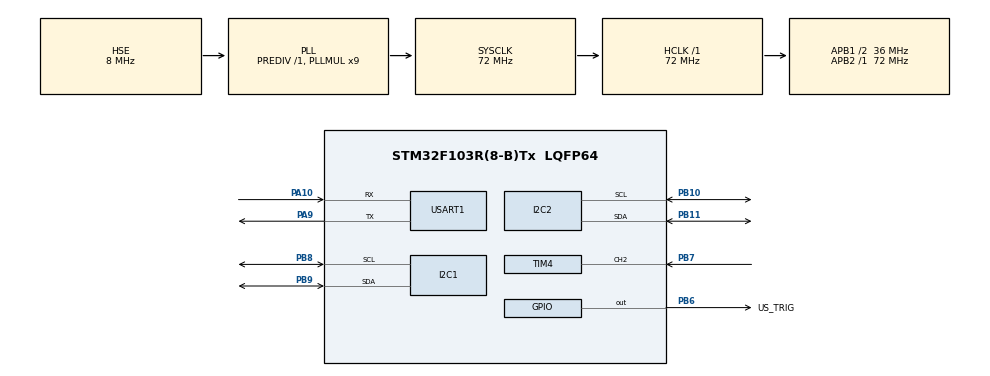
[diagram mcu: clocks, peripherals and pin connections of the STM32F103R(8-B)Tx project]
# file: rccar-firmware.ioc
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Dma.Request0=USART1_RX
Dma.Request1=USART1_TX
Dma.USART1_RX.0.Direction=DMA_PERIPH_TO_MEMORY
Dma.USART1_RX.0.Instance=DMA1_Channel5
Dma.USART1_RX.0.MemDataAlignment=DMA_MDATAALIGN_BYTE
Dma.USART1_RX.0.MemInc=DMA_MINC_ENABLE
Dma.USART1_RX.0.Mode=DMA_NORMAL
Dma.USART1_RX.0.PeriphDataAlignment=DMA_PDATAALIGN_BYTE
Dma.USART1_RX.0.PeriphInc=DMA_PINC_DISABLE
Dma.USART1_RX.0.Priority=DMA_PRIORITY_HIGH
Dma.USART1_TX.1.Direction=DMA_MEMORY_TO_PERIPH
Dma.USART1_TX.1.Instance=DMA1_Channel4
Dma.USART1_TX.1.MemDataAlignment=DMA_MDATAALIGN_BYTE
Dma.USART1_TX.1.MemInc=DMA_MINC_ENABLE
Dma.USART1_TX.1.Mode=DMA_NORMAL
Dma.USART1_TX.1.PeriphDataAlignment=DMA_PDATAALIGN_BYTE
Dma.USART1_TX.1.PeriphInc=DMA_PINC_DISABLE
Dma.USART1_TX.1.Priority=DMA_PRIORITY_LOW
FREERTOS.Mutexes01=stateMutex,Dynamic,NULL,Available
FREERTOS.Queues01=cmdQueue,10,uint16_t,0,Dynamic,NULL,NULL
FREERTOS.Tasks01=defaultTask,8,128,StartDefaultTask,Default,NULL,Dynamic,NULL,NULL;ControlTask,48,512,StartControlTask,Default,NULL,Dynamic,NULL,NULL;TelemetryTask,24,256,StartTelemetryTask,Default,NULL,Dynamic,NULL,NULL;CommRxTask,40,256,StartCommRxTask,Default,NULL,Dynamic,NULL,NULL
FREERTOS.configTOTAL_HEAP_SIZE=10240
I2C1.I2C_Mode=I2C_Fast
Mcu.Family=STM32F1
Mcu.Name=STM32F103R(8-B)Tx
Mcu.Package=LQFP64
NVIC.DMA1_Channel4_IRQn=true\:5\:0\:false\:false\:true\:true\:false\:true\:true
NVIC.DMA1_Channel5_IRQn=true\:5\:0\:false\:false\:true\:true\:false\:true\:true
NVIC.PriorityGroup=NVIC_PRIORITYGROUP_4
NVIC.TIM1_UP_IRQn=true\:15\:0\:false\:false\:true\:false\:false\:true\:true
NVIC.TIM4_IRQn=true\:5\:0\:false\:false\:true\:true\:true\:true\:true
NVIC.TimeBase=TIM1_UP_IRQn
NVIC.TimeBaseIP=TIM1
NVIC.USART1_IRQn=true\:5\:0\:false\:false\:true\:true\:true\:true\:true
PA10.Mode=Asynchronous
PA10.Signal=USART1_RX
PA13.Mode=Serial_Wire
PA13.Signal=SYS_JTMS-SWDIO
PA14.Mode=Serial_Wire
PA14.Signal=SYS_JTCK-SWCLK
PA9.Mode=Asynchronous
PA9.Signal=USART1_TX
PB10.Mode=I2C
PB10.Signal=I2C2_SCL
PB11.Mode=I2C
PB11.Signal=I2C2_SDA
PB6.GPIO_Label=US_TRIG
PB6.Signal=GPIO_Output
PB7.Signal=S_TIM4_CH2
PB8.Mode=I2C
PB8.Signal=I2C1_SCL
PB9.Mode=I2C
PB9.Signal=I2C1_SDA
PD0-OSC_IN.Mode=HSE-External-Oscillator
PD0-OSC_IN.Signal=RCC_OSC_IN
PD1-OSC_OUT.Mode=HSE-External-Oscillator
PD1-OSC_OUT.Signal=RCC_OSC_OUT
ProjectManager.HeapSize=0x200
ProjectManager.StackSize=0x400
ProjectManager.TargetToolchain=STM32CubeIDE
RCC.AHBFreq_Value=72000000
RCC.APB1CLKDivider=RCC_HCLK_DIV2
RCC.APB1Freq_Value=36000000
RCC.APB1TimFreq_Value=72000000
RCC.APB2Freq_Value=72000000
RCC.APB2TimFreq_Value=72000000
RCC.HCLKFreq_Value=72000000
RCC.PLLMUL=RCC_PLL_MUL9
RCC.PLLSourceVirtual=RCC_PLLSOURCE_HSE
RCC.SYSCLKFreq_VALUE=72000000
RCC.SYSCLKSource=RCC_SYSCLKSOURCE_PLLCLK
RCC.USBFreq_Value=72000000
SH.S_TIM4_CH2.0=TIM4_CH2,Input_Capture2_from_TI2
TIM4.Channel-Input_Capture2_from_TI2=TIM_CHANNEL_2
TIM4.Prescaler=71
USART1.VirtualMode=VM_ASYNC
VP_FREERTOS_VS_CMSIS_V2.Mode=CMSIS_V2
VP_SYS_VS_tim1.Mode=TIM1
board=custom

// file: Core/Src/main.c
/* USER CODE BEGIN Header */
/**
  ******************************************************************************
  * @file           : main.c
  * @brief          : Main program body
  ******************************************************************************
  * @attention
  *
  * Copyright (c) 2025 STMicroelectronics.
  * All rights reserved.
  *
  * This software is licensed under terms that can be found in the LICENSE file
  * in the root directory of this software component.
  * If no LICENSE file comes with this software, it is provided AS-IS.
  *
  ******************************************************************************
  */
/* USER CODE END Header */
#include "main.h"
#include "cmsis_os.h"
#include "dma.h"
#include "i2c.h"
#include "tim.h"
#include "usart.h"
#include "gpio.h"

/* USER CODE BEGIN Includes */
#include <stdio.h>
#include <string.h>
/* USER CODE END Includes */

/* USER CODE BEGIN PD */
#define MPU6050_ADDR	(0x68 << 1)
#define RX_BUFFER_SIZE	64
/* USER CODE END PD */

/* USER CODE BEGIN PV */
uint32_t ic_val1 = 0;
uint32_t ic_val2 = 0;
uint32_t difference = 0;
uint8_t is_first_captured;
volatile uint32_t g_distance = 0;

uint8_t rx_buffer[RX_BUFFER_SIZE];
/* USER CODE END PV */

void SystemClock_Config(void);
void MX_FREERTOS_Init(void);

/* USER CODE BEGIN 0 */
extern osThreadId_t CommRxTaskHandle;
/* USER CODE END 0 */

int main(void)
{

  /* MCU Configuration--------------------------------------------------------*/

  /* Reset of all peripherals, Initializes the Flash interface and the Systick. */
  HAL_Init();

  /* Configure the system clock */
  SystemClock_Config();

  /* Initialize all configured peripherals */
  MX_GPIO_Init();
  MX_DMA_Init();
  MX_USART1_UART_Init();
  MX_I2C1_Init();
  MX_I2C2_Init();
  MX_TIM4_Init();
  /* USER CODE BEGIN 2 */

  // 1. Start Ultrasonic Timer (TIM4 Channel 2)
  HAL_TIM_IC_Start_IT(&htim4, TIM_CHANNEL_2);

  // 2. Init MPU6050
  MPU6050_Init(&hi2c1);

  // 3. UART Rx Init
  HAL_UARTEx_ReceiveToIdle_DMA(&huart1, rx_buffer, RX_BUFFER_SIZE);

  /* USER CODE END 2 */

  /* Init scheduler */
  osKernelInitialize();  /* Call init function for freertos objects (in cmsis_os2.c) */
  MX_FREERTOS_Init();

  /* Start scheduler */
  osKernelStart();

  /* We should never get here as control is now taken by the scheduler */

  /* Infinite loop */
  while (1)
  {

  }
}

void SystemClock_Config(void)
{
  RCC_OscInitTypeDef RCC_OscInitStruct = {0};
  RCC_ClkInitTypeDef RCC_ClkInitStruct = {0};

  /** Initializes the RCC Oscillators according to the specified parameters
  * in the RCC_OscInitTypeDef structure.
  */
  RCC_OscInitStruct.OscillatorType = RCC_OSCILLATORTYPE_HSE;
  RCC_OscInitStruct.HSEState = RCC_HSE_ON;
  RCC_OscInitStruct.HSEPredivValue = RCC_HSE_PREDIV_DIV1;
  RCC_OscInitStruct.HSIState = RCC_HSI_ON;
  RCC_OscInitStruct.PLL.PLLState = RCC_PLL_ON;
  RCC_OscInitStruct.PLL.PLLSource = RCC_PLLSOURCE_HSE;
  RCC_OscInitStruct.PLL.PLLMUL = RCC_PLL_MUL9;
  if (HAL_RCC_OscConfig(&RCC_OscInitStruct) != HAL_OK)
  {
    Error_Handler();
  }

  /** Initializes the CPU, AHB and APB buses clocks
  */
  RCC_ClkInitStruct.ClockType = RCC_CLOCKTYPE_HCLK|RCC_CLOCKTYPE_SYSCLK
                              |RCC_CLOCKTYPE_PCLK1|RCC_CLOCKTYPE_PCLK2;
  RCC_ClkInitStruct.SYSCLKSource = RCC_SYSCLKSOURCE_PLLCLK;
  RCC_ClkInitStruct.AHBCLKDivider = RCC_SYSCLK_DIV1;
  RCC_ClkInitStruct.APB1CLKDivider = RCC_HCLK_DIV2;
  RCC_ClkInitStruct.APB2CLKDivider = RCC_HCLK_DIV1;

  if (HAL_RCC_ClockConfig(&RCC_ClkInitStruct, FLASH_LATENCY_2) != HAL_OK)
  {
    Error_Handler();
  }
}

/* USER CODE BEGIN 4 */
void HAL_TIM_IC_CaptureCallback(TIM_HandleTypeDef *htim)
{
	if (htim->Instance == TIM4) // PB7 (Echo)
	{
		if (is_first_captured == 0) // Rising Edge
		{
			ic_val1 = HAL_TIM_ReadCapturedValue(htim, TIM_CHANNEL_2);
			is_first_captured = 1;
			// Change polarity to falling edge and wait for next interrupt
			__HAL_TIM_SET_CAPTUREPOLARITY(htim, TIM_CHANNEL_2, TIM_INPUTCHANNELPOLARITY_FALLING);
		}
		else // Falling edge
		{
			ic_val2 = HAL_TIM_ReadCapturedValue(htim, TIM_CHANNEL_2);

			// Deal with timer overflow
			if (ic_val2 > ic_val1)
			{
				difference = ic_val2 - ic_val1;
			}
			else
			{
				difference = (0xFFFF - ic_val1) + ic_val2;
			}

			// Calculate distance (us / 58 = cm)
			g_distance = difference / 58;

			is_first_captured = 0;
			// Roll back polarity to rising edge
			__HAL_TIM_SET_CAPTUREPOLARITY(htim, TIM_CHANNEL_2, TIM_INPUTCHANNELPOLARITY_RISING);
		}
	}
}

void MPU6050_Init(I2C_HandleTypeDef *hi2c)
{
	uint8_t check;
	uint8_t data;

	// Check WHO_AM_I
	HAL_I2C_Mem_Read(hi2c, MPU6050_ADDR, 0x75, 1, &check, 1, 1000);

	if (check == (MPU6050_ADDR >> 1))
	{
		// PWR_MGMT_1 (0x6B) -> 0 (Wake up)
		data = 0;
		HAL_I2C_Mem_Write(hi2c, MPU6050_ADDR, 0x6B, 1, &data, 1, 1000);
	}
}

void MPU6050_Read_Accel(I2C_HandleTypeDef *hi2c, int16_t *ax, int16_t *ay, int16_t *az)
{
	uint8_t rec_data[6];

	// Read 6 bytes from ACCEL_XOUT_H (0x3B)
	HAL_I2C_Mem_Read(hi2c, MPU6050_ADDR, 0x3B, 1, rec_data, 6, 1000);

	*ax = (int16_t)(rec_data[0] << 8 | rec_data[1]);
	*ay = (int16_t)(rec_data[2] << 8 | rec_data[3]);
	*az = (int16_t)(rec_data[4] << 8 | rec_data[5]);
}

void MPU6050_Read_Gyro(I2C_HandleTypeDef *hi2c, int16_t *gx, int16_t *gy, int16_t *gz)
{
	uint8_t rec_data[6];

	// Read 6 bytes from GYRO_XOUT_H (0x43)
	HAL_I2C_Mem_Read(hi2c, MPU6050_ADDR, 0x43, 1, rec_data, 6, 1000);

	*gx = (int16_t)(rec_data[0] << 8 | rec_data[1]);
	*gy = (int16_t)(rec_data[2] << 8 | rec_data[3]);
	*gz = (int16_t)(rec_data[4] << 8 | rec_data[5]);
}

void HAL_UARTEx_RxEventCallback(UART_HandleTypeDef *huart, uint16_t Size)
{
	if (huart->Instance == USART1)
	{
		if (Size < RX_BUFFER_SIZE)
		{
			rx_buffer[Size] = '\0';
		}
		else
		{
			rx_buffer[RX_BUFFER_SIZE - 1] = '\0';
		}

		// Send signal to CommRxTask
		if (CommRxTaskHandle != NULL)
		{
			osThreadFlagsSet(CommRxTaskHandle, 0x01);
		}

		HAL_UARTEx_ReceiveToIdle_DMA(&huart1, rx_buffer, RX_BUFFER_SIZE);
	}
}

void HAL_UART_ErrorCallback(UART_HandleTypeDef *huart)
{
	if (huart->Instance == USART1)
	{
		__HAL_UART_CLEAR_OREFLAG(huart);
		__HAL_UART_CLEAR_NEFLAG(huart);
		__HAL_UART_CLEAR_FEFLAG(huart);

		HAL_UARTEx_ReceiveToIdle_DMA(&huart1, rx_buffer, RX_BUFFER_SIZE);
	}
}
/* USER CODE END 4 */

void HAL_TIM_PeriodElapsedCallback(TIM_HandleTypeDef *htim)
{
  if (htim->Instance == TIM1)
  {
    HAL_IncTick();
  }
}

void Error_Handler(void)
{
  __disable_irq();
  while (1)
  {
  }
}

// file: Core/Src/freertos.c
/* USER CODE BEGIN Header */
/**
  ******************************************************************************
  * File Name          : freertos.c
  * Description        : Code for freertos applications
  ******************************************************************************
  * @attention
  *
  * Copyright (c) 2025 STMicroelectronics.
  * All rights reserved.
  *
  * This software is licensed under terms that can be found in the LICENSE file
  * in the root directory of this software component.
  * If no LICENSE file comes with this software, it is provided AS-IS.
  *
  ******************************************************************************
  */
/* USER CODE END Header */

#include "FreeRTOS.h"
#include "task.h"
#include "main.h"
#include "cmsis_os.h"

/* USER CODE BEGIN Includes */
#include <stdio.h>
#include <string.h>
#include <stdlib.h>
#include "usart.h"
#include "i2c.h"
#include "motorhat.h"

extern volatile uint32_t g_distance;
extern uint8_t rx_buffer[];
/* USER CODE END Includes */

/* USER CODE BEGIN Variables */
RcCarState_t g_carState = {0};
/* USER CODE END Variables */
/* Definitions for defaultTask */
osThreadId_t defaultTaskHandle;
const osThreadAttr_t defaultTask_attributes = {
  .name = "defaultTask",
  .stack_size = 128 * 4,
  .priority = (osPriority_t) osPriorityLow,
};
/* Definitions for ControlTask */
osThreadId_t ControlTaskHandle;
const osThreadAttr_t ControlTask_attributes = {
  .name = "ControlTask",
  .stack_size = 512 * 4,
  .priority = (osPriority_t) osPriorityRealtime,
};
/* Definitions for TelemetryTask */
osThreadId_t TelemetryTaskHandle;
const osThreadAttr_t TelemetryTask_attributes = {
  .name = "TelemetryTask",
  .stack_size = 256 * 4,
  .priority = (osPriority_t) osPriorityNormal,
};
/* Definitions for CommRxTask */
osThreadId_t CommRxTaskHandle;
const osThreadAttr_t CommRxTask_attributes = {
  .name = "CommRxTask",
  .stack_size = 256 * 4,
  .priority = (osPriority_t) osPriorityHigh,
};
/* Definitions for cmdQueue */
osMessageQueueId_t cmdQueueHandle;
const osMessageQueueAttr_t cmdQueue_attributes = {
  .name = "cmdQueue"
};
/* Definitions for stateMutex */
osMutexId_t stateMutexHandle;
const osMutexAttr_t stateMutex_attributes = {
  .name = "stateMutex"
};

/* USER CODE BEGIN FunctionPrototypes */
void Remap_Axis(int16_t rx, int16_t ry, int16_t rz, int16_t *ox, int16_t *oy, int16_t *oz)
{
#if (MOUNT_TYPE == 1)
	*ox = -ry;
	*oy = rx;
	*oz = rz;

#elif (MOUNT_TYPE == 2)
	*ox = -ry;
	*oy = -rz;
	*oz = rx;

#endif
}
/* USER CODE END FunctionPrototypes */

void StartDefaultTask(void *argument);
void StartControlTask(void *argument);
void StartTelemetryTask(void *argument);
void StartCommRxTask(void *argument);

void MX_FREERTOS_Init(void); /* (MISRA C 2004 rule 8.1) */

void MX_FREERTOS_Init(void) {
  /* Create the mutex(es) */
  /* creation of stateMutex */
  stateMutexHandle = osMutexNew(&stateMutex_attributes);

  /* Create the queue(s) */
  /* creation of cmdQueue */
  cmdQueueHandle = osMessageQueueNew (10, sizeof(uint16_t), &cmdQueue_attributes);

  /* Create the thread(s) */
  /* creation of defaultTask */
  defaultTaskHandle = osThreadNew(StartDefaultTask, NULL, &defaultTask_attributes);

  /* creation of ControlTask */
  ControlTaskHandle = osThreadNew(StartControlTask, NULL, &ControlTask_attributes);

  /* creation of TelemetryTask */
  TelemetryTaskHandle = osThreadNew(StartTelemetryTask, NULL, &TelemetryTask_attributes);

  /* creation of CommRxTask */
  CommRxTaskHandle = osThreadNew(StartCommRxTask, NULL, &CommRxTask_attributes);

}

void StartDefaultTask(void *argument)
{
  /* USER CODE BEGIN StartDefaultTask */
  /* Infinite loop */
  for(;;)
  {
    osDelay(1000);
  }
  /* USER CODE END StartDefaultTask */
}

void StartControlTask(void *argument)
{
  /* USER CODE BEGIN StartControlTask */
	int16_t raw_ax, raw_ay, raw_az;
	int16_t raw_gx, raw_gy, raw_gz;
	int16_t body_ax, body_ay, body_az;
	int16_t body_gx, body_gy, body_gz;

	int16_t target_thr = 0;
	int16_t target_str = 0;

	static uint8_t brake_tick = 0;
	static uint8_t is_braking_active = 0;
	static uint8_t is_sent_brake_msg = 0;

	MotorHat_Init();
	Motor_SetSteer(0);
	Motor_SetThrottle(0);

  /* Infinite loop */
  for(;;)
  {
	  // 1. Read Sensor Data
	  // MPU6050
	  MPU6050_Read_Accel(&hi2c1, &raw_ax, &raw_ay, &raw_az);
	  MPU6050_Read_Gyro(&hi2c1, &raw_gx, &raw_gy, &raw_gz);

	  Remap_Axis(raw_ax, raw_ay, raw_az, &body_ax, &body_ay, &body_az);
	  Remap_Axis(raw_gx, raw_gy, raw_gz, &body_gx, &body_gy, &body_gz);

#if (MOUNT_TYPE == 1)
	  body_ax -= OFFSET_AX_TYPE_1;
	  body_ay -= OFFSET_AY_TYPE_1;
	  body_az -= OFFSET_AZ_TYPE_1;
	  body_gx -= OFFSET_GX_TYPE_1;
	  body_gy -= OFFSET_GY_TYPE_1;
	  body_gz -= OFFSET_GZ_TYPE_1;
#elif (MOUNT_TYPE == 2)
	  body_ax -= OFFSET_AX_TYPE_2;
	  body_ay -= OFFSET_AY_TYPE_2;
	  body_az -= OFFSET_AZ_TYPE_2;
	  body_gx -= OFFSET_GX_TYPE_2;
	  body_gy -= OFFSET_GY_TYPE_2;
	  body_gz -= OFFSET_GZ_TYPE_2;
#endif

	  // Ultrasonic
	  HAL_GPIO_WritePin(US_TRIG_GPIO_Port, US_TRIG_Pin, GPIO_PIN_SET);
	  // Very short delay
	  for (int i = 0; i < 72 * 10; i++) __NOP();
	  HAL_GPIO_WritePin(US_TRIG_GPIO_Port, US_TRIG_Pin, GPIO_PIN_RESET);

	  // Update data
	  if (osMutexAcquire(stateMutexHandle, 10) == osOK)
	  {
		  g_carState.ax = body_ax;
		  g_carState.ay = body_ay;
		  g_carState.az = body_az;
		  g_carState.gx = body_gx;
		  g_carState.gy = body_gy;
		  g_carState.gz = body_gz;
		  g_carState.distance_cm = g_distance;
		  target_thr = g_carState.throttle;
		  target_str = g_carState.steer;

		  osMutexRelease(stateMutexHandle);
	  }

	  // Failsafe
	  if (g_distance > 0 && g_distance < 15 && target_thr > 0)
	  {
		  is_braking_active = 1;
		  if (is_sent_brake_msg == 0)
		  {
			  const char *msg = "$STS,US_BRAKE\r\n";
			  if ((HAL_UART_GetState(&huart1) & HAL_UART_STATE_BUSY_TX) != HAL_UART_STATE_BUSY_TX)
			  {
				  HAL_UART_Transmit_DMA(&huart1, (uint8_t *)msg, strlen(msg));
				  is_sent_brake_msg = 1;
			  }
		  }
	  }

	  if (target_thr <= 0)
	  {
		  is_braking_active = 0;
		  brake_tick = 0;
		  is_sent_brake_msg = 0;
	  }

	  if (is_braking_active == 1)
	  {
		  if (brake_tick < 10)
		  {
			  target_thr = -80;
			  brake_tick++;
		  }
		  else
		  {
			  target_thr = 0;
		  }
	  }

	  // Run motor
	  Motor_SetThrottle(target_thr);
	  Motor_SetSteer(target_str);

	  // Every 20ms
	  osDelay(20);
  }
  /* USER CODE END StartControlTask */
}

void StartTelemetryTask(void *argument)
{
  /* USER CODE BEGIN StartTelemetryTask */
	char tx_buffer[128];
	RcCarState_t current_state;

  /* Infinite loop */
  for(;;)
  {
	  // Copy data
	  if (osMutexAcquire(stateMutexHandle, 10) == osOK)
	  {
		  current_state = g_carState;
		  osMutexRelease(stateMutexHandle);
	  }

	  // Packet formatting ($TEL)
	  // spec: $TEL, AX, AY, AZ, GX, GY, GZ, DIST, THROTTLE, STEER
	  int len = sprintf(tx_buffer, "$TEL,%d,%d,%d,%d,%d,%d,%lu,%d,%d\r\n",
			  current_state.ax, current_state.ay, current_state.az,
			  current_state.gx, current_state.gy, current_state.gz,
			  current_state.distance_cm,
			  current_state.throttle, current_state.steer);

	  // Transmit UART DMA
	  //if (HAL_UART_GetState(&huart1) == HAL_UART_STATE_READY)
	  //{
	  HAL_UART_Transmit_DMA(&huart1, (uint8_t *)tx_buffer, len);
	  //}

	  if ((HAL_UART_GetState(&huart1) & HAL_UART_STATE_BUSY_TX) != HAL_UART_STATE_BUSY_TX)
	  {
		  HAL_UART_Transmit_DMA(&huart1, (uint8_t *)tx_buffer, len);
	  }

	  // Every 50ms
	  osDelay(50);
  }
  /* USER CODE END StartTelemetryTask */
}

void StartCommRxTask(void *argument)
{
  /* USER CODE BEGIN StartCommRxTask */
	char *token;
	char cmd_copy[64];

  /* Infinite loop */
  for(;;)
  {
	  // 1. Wait for data (blocking)
	  osThreadFlagsWait(0x01, osFlagsWaitAny, osWaitForever);

	  // 2. Copy data
	  strcpy(cmd_copy, (char *)rx_buffer);

	  // 3. parsing logic
	  token = strtok(cmd_copy, ",");

	  if (token != NULL)
	  {
		  if (!strcmp(token, "$CMD"))
		  {
			  // Format: $CMD,THROTTLE,STEER
			  char *s_thr = strtok(NULL, ",");
			  char *s_str = strtok(NULL, ",");

			  if (s_thr != NULL && s_str != NULL)
			  {
				  int16_t val_thr = atoi(s_thr);
				  int16_t val_str = atoi(s_str);

				  if (osMutexAcquire(stateMutexHandle, 10) == osOK)
				  {
					  g_carState.throttle = val_thr;
					  g_carState.steer = val_str;
					  osMutexRelease(stateMutexHandle);
				  }
			  }
		  }
		  else if (!strcmp(token, "$TUN"))
		  {
			  // Format: $TUN,TYPE,VALUE
			  //TODO
		  }
	  }
	  memset(rx_buffer, 0, 64);
  }
  /* USER CODE END StartCommRxTask */
}
